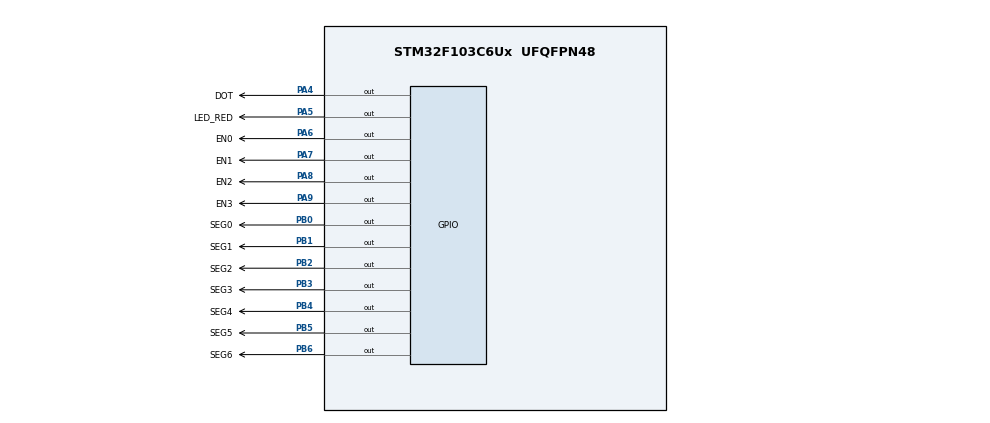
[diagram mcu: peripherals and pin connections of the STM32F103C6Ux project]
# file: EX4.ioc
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Mcu.Family=STM32F1
Mcu.Name=STM32F103C6Ux
Mcu.Package=UFQFPN48
NVIC.PriorityGroup=NVIC_PRIORITYGROUP_4
NVIC.TIM2_IRQn=true\:0\:0\:false\:false\:true\:true\:true
PA4.GPIO_Label=DOT
PA4.Signal=GPIO_Output
PA5.GPIO_Label=LED_RED
PA5.Signal=GPIO_Output
PA6.GPIO_Label=EN0
PA6.Signal=GPIO_Output
PA7.GPIO_Label=EN1
PA7.Signal=GPIO_Output
PA8.GPIO_Label=EN2
PA8.Signal=GPIO_Output
PA9.GPIO_Label=EN3
PA9.Signal=GPIO_Output
PB0.GPIO_Label=SEG0
PB0.Signal=GPIO_Output
PB1.GPIO_Label=SEG1
PB1.Signal=GPIO_Output
PB2.GPIO_Label=SEG2
PB2.Signal=GPIO_Output
PB3.GPIO_Label=SEG3
PB3.Signal=GPIO_Output
PB4.GPIO_Label=SEG4
PB4.Signal=GPIO_Output
PB5.GPIO_Label=SEG5
PB5.Signal=GPIO_Output
PB6.GPIO_Label=SEG6
PB6.Signal=GPIO_Output
ProjectManager.HeapSize=0x200
ProjectManager.StackSize=0x400
ProjectManager.TargetToolchain=STM32CubeIDE
RCC.APB1Freq_Value=8000000
RCC.APB2Freq_Value=8000000
TIM2.Period=10
TIM2.Prescaler=7999
VP_SYS_VS_ND.Mode=No_Debug
VP_TIM2_VS_ClockSourceINT.Mode=Internal
board=custom

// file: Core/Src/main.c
/* USER CODE BEGIN Header */
/**
  ******************************************************************************
  * @file           : main.c
  * @brief          : Main program body
  ******************************************************************************
  * @attention
  *
  * <h2><center>&copy; Copyright (c) 2022 STMicroelectronics.
  * All rights reserved.</center></h2>
  *
  * This software component is licensed by ST under BSD 3-Clause license,
  * the "License"; You may not use this file except in compliance with the
  * License. You may obtain a copy of the License at:
  *                        opensource.org/licenses/BSD-3-Clause
  *
  ******************************************************************************
  */
/* USER CODE END Header */
#include "main.h"

TIM_HandleTypeDef htim2;

void SystemClock_Config(void);
static void MX_GPIO_Init(void);
static void MX_TIM2_Init(void);

int main(void)
{

  /* MCU Configuration--------------------------------------------------------*/

  /* Reset of all peripherals, Initializes the Flash interface and the Systick. */
  HAL_Init();

  /* Configure the system clock */
  SystemClock_Config();

  /* Initialize all configured peripherals */
  MX_GPIO_Init();
  MX_TIM2_Init();
  /* USER CODE BEGIN 2 */
  HAL_TIM_Base_Start_IT (& htim2 ) ;
  /* USER CODE END 2 */

  /* Infinite loop */
  while (1)
  {

  }
}

void SystemClock_Config(void)
{
  RCC_OscInitTypeDef RCC_OscInitStruct = {0};
  RCC_ClkInitTypeDef RCC_ClkInitStruct = {0};

  /** Initializes the RCC Oscillators according to the specified parameters
  * in the RCC_OscInitTypeDef structure.
  */
  RCC_OscInitStruct.OscillatorType = RCC_OSCILLATORTYPE_HSI;
  RCC_OscInitStruct.HSIState = RCC_HSI_ON;
  RCC_OscInitStruct.HSICalibrationValue = RCC_HSICALIBRATION_DEFAULT;
  RCC_OscInitStruct.PLL.PLLState = RCC_PLL_NONE;
  if (HAL_RCC_OscConfig(&RCC_OscInitStruct) != HAL_OK)
  {
    Error_Handler();
  }
  /** Initializes the CPU, AHB and APB buses clocks
  */
  RCC_ClkInitStruct.ClockType = RCC_CLOCKTYPE_HCLK|RCC_CLOCKTYPE_SYSCLK
                              |RCC_CLOCKTYPE_PCLK1|RCC_CLOCKTYPE_PCLK2;
  RCC_ClkInitStruct.SYSCLKSource = RCC_SYSCLKSOURCE_HSI;
  RCC_ClkInitStruct.AHBCLKDivider = RCC_SYSCLK_DIV1;
  RCC_ClkInitStruct.APB1CLKDivider = RCC_HCLK_DIV1;
  RCC_ClkInitStruct.APB2CLKDivider = RCC_HCLK_DIV1;

  if (HAL_RCC_ClockConfig(&RCC_ClkInitStruct, FLASH_LATENCY_0) != HAL_OK)
  {
    Error_Handler();
  }
}

static void MX_TIM2_Init(void)
{

  TIM_ClockConfigTypeDef sClockSourceConfig = {0};
  TIM_MasterConfigTypeDef sMasterConfig = {0};

  htim2.Instance = TIM2;
  htim2.Init.Prescaler = 7999;
  htim2.Init.CounterMode = TIM_COUNTERMODE_UP;
  htim2.Init.Period = 10;
  htim2.Init.ClockDivision = TIM_CLOCKDIVISION_DIV1;
  htim2.Init.AutoReloadPreload = TIM_AUTORELOAD_PRELOAD_DISABLE;
  if (HAL_TIM_Base_Init(&htim2) != HAL_OK)
  {
    Error_Handler();
  }
  sClockSourceConfig.ClockSource = TIM_CLOCKSOURCE_INTERNAL;
  if (HAL_TIM_ConfigClockSource(&htim2, &sClockSourceConfig) != HAL_OK)
  {
    Error_Handler();
  }
  sMasterConfig.MasterOutputTrigger = TIM_TRGO_RESET;
  sMasterConfig.MasterSlaveMode = TIM_MASTERSLAVEMODE_DISABLE;
  if (HAL_TIMEx_MasterConfigSynchronization(&htim2, &sMasterConfig) != HAL_OK)
  {
    Error_Handler();
  }

}

static void MX_GPIO_Init(void)
{
  GPIO_InitTypeDef GPIO_InitStruct = {0};

  /* GPIO Ports Clock Enable */
  __HAL_RCC_GPIOA_CLK_ENABLE();
  __HAL_RCC_GPIOB_CLK_ENABLE();

  /*Configure GPIO pin Output Level */
  HAL_GPIO_WritePin(GPIOA, DOT_Pin|LED_RED_Pin|EN0_Pin|EN1_Pin
                          |EN2_Pin|EN3_Pin, GPIO_PIN_RESET);

  /*Configure GPIO pin Output Level */
  HAL_GPIO_WritePin(GPIOB, SEG0_Pin|SEG1_Pin|SEG2_Pin|SEG3_Pin
                          |SEG4_Pin|SEG5_Pin|SEG6_Pin, GPIO_PIN_RESET);

  /*Configure GPIO pins : DOT_Pin LED_RED_Pin EN0_Pin EN1_Pin
                           EN2_Pin EN3_Pin */
  GPIO_InitStruct.Pin = DOT_Pin|LED_RED_Pin|EN0_Pin|EN1_Pin
                          |EN2_Pin|EN3_Pin;
  GPIO_InitStruct.Mode = GPIO_MODE_OUTPUT_PP;
  GPIO_InitStruct.Pull = GPIO_NOPULL;
  GPIO_InitStruct.Speed = GPIO_SPEED_FREQ_LOW;
  HAL_GPIO_Init(GPIOA, &GPIO_InitStruct);

  /*Configure GPIO pins : SEG0_Pin SEG1_Pin SEG2_Pin SEG3_Pin
                           SEG4_Pin SEG5_Pin SEG6_Pin */
  GPIO_InitStruct.Pin = SEG0_Pin|SEG1_Pin|SEG2_Pin|SEG3_Pin
                          |SEG4_Pin|SEG5_Pin|SEG6_Pin;
  GPIO_InitStruct.Mode = GPIO_MODE_OUTPUT_PP;
  GPIO_InitStruct.Pull = GPIO_NOPULL;
  GPIO_InitStruct.Speed = GPIO_SPEED_FREQ_LOW;
  HAL_GPIO_Init(GPIOB, &GPIO_InitStruct);

}

/* USER CODE BEGIN 4 */
const int MAX_LED=4;
int index_led=0;
int led_buffer[4]={1,4,0,2};
void display7SEG(int count){
	  // ma hex display7Seg cua 0 den 10
	  int16_t array[10]={
			0x40,	//0
			0x79,	//1
			0x24,	//2
			0x30,	//3
			0x19,	//4
			0x12,	//5
			0x2,	//6
			0x78,	//7
			0x0,	//8
			0x10	//9
	  };
	  //day gia tri ma hex cua so can hien thi vao thanh ghi
	  GPIOB->ODR=array[count];
}
void update7SEG(int index){
	switch(index){
	case 0:
		// Display the first 7 SEG with led_buffer [0]
		HAL_GPIO_WritePin(EN0_GPIO_Port, EN0_Pin, 0);
		HAL_GPIO_WritePin(EN1_GPIO_Port, EN1_Pin, 1);
		HAL_GPIO_WritePin(EN2_GPIO_Port, EN2_Pin, 1);
		HAL_GPIO_WritePin(EN3_GPIO_Port, EN3_Pin, 1);
		display7SEG(led_buffer[index]);
		break;
	case 1:
		// Display the second 7 SEG with led_buffer [1]
		HAL_GPIO_WritePin(EN0_GPIO_Port, EN0_Pin, 1);
		HAL_GPIO_WritePin(EN1_GPIO_Port, EN1_Pin, 0);
		HAL_GPIO_WritePin(EN2_GPIO_Port, EN2_Pin, 1);
		HAL_GPIO_WritePin(EN3_GPIO_Port, EN3_Pin, 1);
		display7SEG(led_buffer[index]);
		break;
	case 2:
		// Display the third 7 SEG with led_buffer [2]
		HAL_GPIO_WritePin(EN0_GPIO_Port, EN0_Pin, 1);
		HAL_GPIO_WritePin(EN1_GPIO_Port, EN1_Pin, 1);
		HAL_GPIO_WritePin(EN2_GPIO_Port, EN2_Pin, 0);
		HAL_GPIO_WritePin(EN3_GPIO_Port, EN3_Pin, 1);
		display7SEG(led_buffer[index]);
		break;
	case 3:
		// Display the fourth 7 SEG with led_buffer [3]
		HAL_GPIO_WritePin(EN0_GPIO_Port, EN0_Pin, 1);
		HAL_GPIO_WritePin(EN1_GPIO_Port, EN1_Pin, 1);
		HAL_GPIO_WritePin(EN2_GPIO_Port, EN2_Pin, 1);
		HAL_GPIO_WritePin(EN3_GPIO_Port, EN3_Pin, 0);
		display7SEG(led_buffer[index]);
		break;
	default:
		break;
	}
}
int counter=25;
void HAL_TIM_PeriodElapsedCallback ( TIM_HandleTypeDef * htim ){
	counter--;
	if(counter<=0){
		counter=25;
		//goi ham update7SEG
		update7SEG(index_led);
		index_led++;
		//set lai gia tri cua index_led
		if(index_led>=4) index_led=0;
	}
}
/* USER CODE END 4 */

void Error_Handler(void)
{
  __disable_irq();
  while (1)
  {
  }
}

/************************ (C) COPYRIGHT STMicroelectronics *****END OF FILE****/
